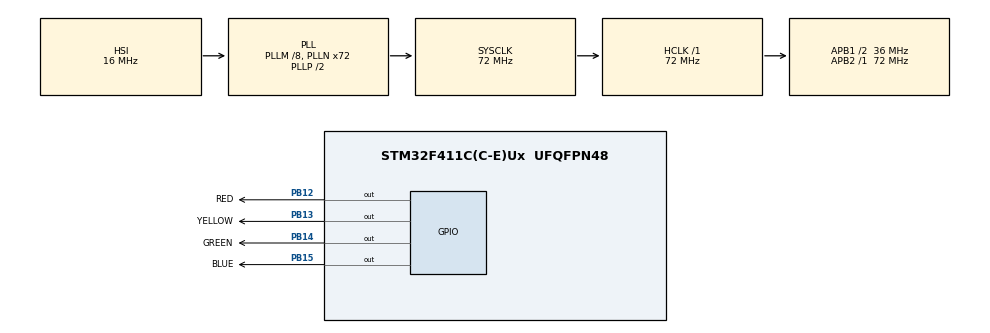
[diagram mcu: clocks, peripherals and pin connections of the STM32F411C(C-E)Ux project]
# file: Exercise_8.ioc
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FREERTOS.BinarySemaphores01=CriticalResourceSemaphore,Dynamic,NULL,Available
FREERTOS.Tasks01=defaultTask,24,128,StartDefaultTask,Default,NULL,Dynamic,NULL,NULL;GREENLEDTASK,24,128,GREENTASK,Default,NULL,Dynamic,NULL,NULL;REDLEDTASK,24,128,REDTASK,Default,NULL,Dynamic,NULL,NULL;YELLOWLEDTASK,32,128,YELLOWTASK,Default,NULL,Dynamic,NULL,NULL
Mcu.Family=STM32F4
Mcu.Name=STM32F411C(C-E)Ux
Mcu.Package=UFQFPN48
NVIC.PriorityGroup=NVIC_PRIORITYGROUP_4
NVIC.TIM4_IRQn=true\:15\:0\:false\:false\:true\:false\:false\:true\:true
NVIC.TimeBase=TIM4_IRQn
NVIC.TimeBaseIP=TIM4
PA13.Mode=Serial_Wire
PA13.Signal=SYS_JTMS-SWDIO
PA14.Mode=Serial_Wire
PA14.Signal=SYS_JTCK-SWCLK
PB12.GPIO_Label=RED
PB12.PinState=GPIO_PIN_SET
PB12.Signal=GPIO_Output
PB13.GPIO_Label=YELLOW
PB13.PinState=GPIO_PIN_SET
PB13.Signal=GPIO_Output
PB14.GPIO_Label=GREEN
PB14.PinState=GPIO_PIN_SET
PB14.Signal=GPIO_Output
PB15.GPIO_Label=BLUE
PB15.PinState=GPIO_PIN_SET
PB15.Signal=GPIO_Output
ProjectManager.HeapSize=0x200
ProjectManager.StackSize=0x400
ProjectManager.TargetToolchain=STM32CubeIDE
RCC.48MHZClocksFreq_Value=36000000
RCC.AHBFreq_Value=72000000
RCC.APB1CLKDivider=RCC_HCLK_DIV2
RCC.APB1Freq_Value=36000000
RCC.APB1TimFreq_Value=72000000
RCC.APB2Freq_Value=72000000
RCC.APB2TimFreq_Value=72000000
RCC.CortexFreq_Value=72000000
RCC.HCLKFreq_Value=72000000
RCC.HSE_VALUE=25000000
RCC.HSI_VALUE=16000000
RCC.LSE_VALUE=32768
RCC.PLLM=8
RCC.PLLN=72
RCC.SYSCLKFreq_VALUE=72000000
RCC.SYSCLKSource=RCC_SYSCLKSOURCE_PLLCLK
RCC.VCOOutputFreq_Value=144000000
VP_FREERTOS_VS_CMSIS_V2.Mode=CMSIS_V2
VP_SYS_VS_tim4.Mode=TIM4
board=custom

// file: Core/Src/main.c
/* USER CODE BEGIN Header */
/**
  ******************************************************************************
  * @file           : main.c
  * @brief          : Main program body
  ******************************************************************************
  * @attention
  *
  * Copyright (c) 2024 STMicroelectronics.
  * All rights reserved.
  *
  * This software is licensed under terms that can be found in the LICENSE file
  * in the root directory of this software component.
  * If no LICENSE file comes with this software, it is provided AS-IS.
  *
  ******************************************************************************
  */
/* USER CODE END Header */
#include "main.h"
#include "cmsis_os.h"

/* USER CODE BEGIN PD */
#define HIGH GPIO_PIN_RESET
#define LOW GPIO_PIN_SET
/* USER CODE END PD */

/* Definitions for defaultTask */
osThreadId_t defaultTaskHandle;
const osThreadAttr_t defaultTask_attributes = {
  .name = "defaultTask",
  .stack_size = 128 * 4,
  .priority = (osPriority_t) osPriorityNormal,
};
/* Definitions for GREENLEDTASK */
osThreadId_t GREENLEDTASKHandle;
const osThreadAttr_t GREENLEDTASK_attributes = {
  .name = "GREENLEDTASK",
  .stack_size = 128 * 4,
  .priority = (osPriority_t) osPriorityNormal,
};
/* Definitions for REDLEDTASK */
osThreadId_t REDLEDTASKHandle;
const osThreadAttr_t REDLEDTASK_attributes = {
  .name = "REDLEDTASK",
  .stack_size = 128 * 4,
  .priority = (osPriority_t) osPriorityNormal,
};
/* Definitions for YELLOWLEDTASK */
osThreadId_t YELLOWLEDTASKHandle;
const osThreadAttr_t YELLOWLEDTASK_attributes = {
  .name = "YELLOWLEDTASK",
  .stack_size = 128 * 4,
  .priority = (osPriority_t) osPriorityAboveNormal,
};
/* Definitions for CriticalResourceSemaphore */
osSemaphoreId_t CriticalResourceSemaphoreHandle;
const osSemaphoreAttr_t CriticalResourceSemaphore_attributes = {
  .name = "CriticalResourceSemaphore"
};
/* USER CODE BEGIN PV */
uint8_t StartFlag;
volatile uint8_t RedFlag;
volatile uint8_t GreenFlag;
uint16_t WaitTimeMilliseconds = 550;
/* USER CODE END PV */

void SystemClock_Config(void);
static void MX_GPIO_Init(void);
void StartDefaultTask(void *argument);
void GREENTASK(void *argument);
void REDTASK(void *argument);
void YELLOWTASK(void *argument);

int main(void)
{

  /* USER CODE BEGIN 1 */
	StartFlag = 1;
	GreenFlag = 1;
	RedFlag = 1;

  /* USER CODE END 1 */

  /* MCU Configuration--------------------------------------------------------*/

  /* Reset of all peripherals, Initializes the Flash interface and the Systick. */
  HAL_Init();

  /* Configure the system clock */
  SystemClock_Config();

  /* Initialize all configured peripherals */
  MX_GPIO_Init();
  /* USER CODE BEGIN 2 */
  HAL_GPIO_WritePin(BLUE_GPIO_Port, BLUE_Pin, HIGH);
  /* USER CODE END 2 */

  /* Init scheduler */
  osKernelInitialize();

  /* Create the semaphores(s) */
  /* creation of CriticalResourceSemaphore */
  CriticalResourceSemaphoreHandle = osSemaphoreNew(1, 1, &CriticalResourceSemaphore_attributes);

  /* Create the thread(s) */
  /* creation of defaultTask */
  defaultTaskHandle = osThreadNew(StartDefaultTask, NULL, &defaultTask_attributes);

  /* creation of GREENLEDTASK */
  GREENLEDTASKHandle = osThreadNew(GREENTASK, NULL, &GREENLEDTASK_attributes);

  /* creation of REDLEDTASK */
  REDLEDTASKHandle = osThreadNew(REDTASK, NULL, &REDLEDTASK_attributes);

  /* creation of YELLOWLEDTASK */
  YELLOWLEDTASKHandle = osThreadNew(YELLOWTASK, NULL, &YELLOWLEDTASK_attributes);

  /* Start scheduler */
  osKernelStart();

  /* We should never get here as control is now taken by the scheduler */

  /* Infinite loop */
  while (1)
  {

  }
}

void SystemClock_Config(void)
{
  RCC_OscInitTypeDef RCC_OscInitStruct = {0};
  RCC_ClkInitTypeDef RCC_ClkInitStruct = {0};

  /** Configure the main internal regulator output voltage
  */
  __HAL_RCC_PWR_CLK_ENABLE();
  __HAL_PWR_VOLTAGESCALING_CONFIG(PWR_REGULATOR_VOLTAGE_SCALE1);

  /** Initializes the RCC Oscillators according to the specified parameters
  * in the RCC_OscInitTypeDef structure.
  */
  RCC_OscInitStruct.OscillatorType = RCC_OSCILLATORTYPE_HSI;
  RCC_OscInitStruct.HSIState = RCC_HSI_ON;
  RCC_OscInitStruct.HSICalibrationValue = RCC_HSICALIBRATION_DEFAULT;
  RCC_OscInitStruct.PLL.PLLState = RCC_PLL_ON;
  RCC_OscInitStruct.PLL.PLLSource = RCC_PLLSOURCE_HSI;
  RCC_OscInitStruct.PLL.PLLM = 8;
  RCC_OscInitStruct.PLL.PLLN = 72;
  RCC_OscInitStruct.PLL.PLLP = RCC_PLLP_DIV2;
  RCC_OscInitStruct.PLL.PLLQ = 4;
  if (HAL_RCC_OscConfig(&RCC_OscInitStruct) != HAL_OK)
  {
    Error_Handler();
  }

  /** Initializes the CPU, AHB and APB buses clocks
  */
  RCC_ClkInitStruct.ClockType = RCC_CLOCKTYPE_HCLK|RCC_CLOCKTYPE_SYSCLK
                              |RCC_CLOCKTYPE_PCLK1|RCC_CLOCKTYPE_PCLK2;
  RCC_ClkInitStruct.SYSCLKSource = RCC_SYSCLKSOURCE_PLLCLK;
  RCC_ClkInitStruct.AHBCLKDivider = RCC_SYSCLK_DIV1;
  RCC_ClkInitStruct.APB1CLKDivider = RCC_HCLK_DIV2;
  RCC_ClkInitStruct.APB2CLKDivider = RCC_HCLK_DIV1;

  if (HAL_RCC_ClockConfig(&RCC_ClkInitStruct, FLASH_LATENCY_2) != HAL_OK)
  {
    Error_Handler();
  }
}

static void MX_GPIO_Init(void)
{
  GPIO_InitTypeDef GPIO_InitStruct = {0};

  /* GPIO Ports Clock Enable */
  __HAL_RCC_GPIOB_CLK_ENABLE();
  __HAL_RCC_GPIOA_CLK_ENABLE();

  /*Configure GPIO pin Output Level */
  HAL_GPIO_WritePin(GPIOB, RED_Pin|YELLOW_Pin|GREEN_Pin|BLUE_Pin, GPIO_PIN_SET);

  /*Configure GPIO pins : RED_Pin YELLOW_Pin GREEN_Pin BLUE_Pin */
  GPIO_InitStruct.Pin = RED_Pin|YELLOW_Pin|GREEN_Pin|BLUE_Pin;
  GPIO_InitStruct.Mode = GPIO_MODE_OUTPUT_PP;
  GPIO_InitStruct.Pull = GPIO_NOPULL;
  GPIO_InitStruct.Speed = GPIO_SPEED_FREQ_LOW;
  HAL_GPIO_Init(GPIOB, &GPIO_InitStruct);

}

/* USER CODE BEGIN 4 */
void AccessSharedData(void) {
	//osSemaphoreAcquire(CriticalResourceSemaphoreHandle, osWaitForever);
    if (StartFlag == 1) {
        // Set Start flag to Down to indicate resource is in use
        StartFlag = 0;
    } else {
        // Resource contention: Turn on Blue LED
        HAL_GPIO_WritePin(BLUE_GPIO_Port, BLUE_Pin, HIGH);
    }

    // Simulate read/write operations with a delay of 500 milliseconds
//    SimulateReadWriteOperation();
    HAL_Delay(500);

    // Set Start flag back to Up to indicate resource is free
    StartFlag = 1;

    // Turn off Blue LED (if it was turned on during contention)
    HAL_GPIO_WritePin(BLUE_GPIO_Port, BLUE_Pin, LOW);

    //osSemaphoreRelease(CriticalResourceSemaphoreHandle);
}

void SimulateReadWriteOperation(void) {
    volatile uint32_t delay_count = 0;
    const uint32_t delay_target = 2000000; // Adjust this value to approximate 500 ms

    // Dummy loop to simulate processing time
    for (delay_count = 0; delay_count < delay_target; delay_count++) {
        __asm("nop"); // No Operation: Keeps the processor busy without changing code behavior
    }
}
/* USER CODE END 4 */

void StartDefaultTask(void *argument)
{
  for(;;)
  {
    osDelay(1);
  }
}

void GREENTASK(void *argument)
{
  /* USER CODE BEGIN GREENTASK */
  /* Infinite loop */
  for(;;)
  {
	  GreenFlag = 1;
	  // Turn on Green LED
	  HAL_GPIO_WritePin(GREEN_GPIO_Port, GREEN_Pin, HIGH);

	  // Enter critical section
	  osSemaphoreAcquire(CriticalResourceSemaphoreHandle,WaitTimeMilliseconds);
	  AccessSharedData();
	  osSemaphoreRelease (CriticalResourceSemaphoreHandle);

	  // Turn off Green LED
	  osDelay(400);
	  HAL_GPIO_WritePin(GREEN_GPIO_Port, GREEN_Pin, LOW);

	  GreenFlag = 0;
	  // Delay for 500 milliseconds
	  osDelay(400);
  }
  /* USER CODE END GREENTASK */
}

void REDTASK(void *argument)
{
  /* USER CODE BEGIN REDTASK */
  /* Infinite loop */
  for(;;)
  {
	  RedFlag = 1;
	  // Turn on Red LED
	  HAL_GPIO_WritePin(RED_GPIO_Port, RED_Pin, HIGH);

	  // Enter critical section
	  osSemaphoreAcquire(CriticalResourceSemaphoreHandle,WaitTimeMilliseconds);
	  AccessSharedData();
	  osSemaphoreRelease (CriticalResourceSemaphoreHandle);

	  // Turn off Red LED
	  osDelay(450);
	  HAL_GPIO_WritePin(RED_GPIO_Port, RED_Pin, LOW);

	  RedFlag = 0;
	  // Delay for 100 milliseconds
	  osDelay(450);
  }
  /* USER CODE END REDTASK */
}

void YELLOWTASK(void *argument)
{
  /* USER CODE BEGIN YELLOWTASK */
  /* Infinite loop */
  for(;;)
  {
	  HAL_GPIO_TogglePin(YELLOW_GPIO_Port, YELLOW_Pin);
	  osDelay(50);
  }
  /* USER CODE END YELLOWTASK */
}

void HAL_TIM_PeriodElapsedCallback(TIM_HandleTypeDef *htim)
{
  if (htim->Instance == TIM4) {
    HAL_IncTick();
  }
}

void Error_Handler(void)
{
  __disable_irq();
  while (1)
  {
  }
}
